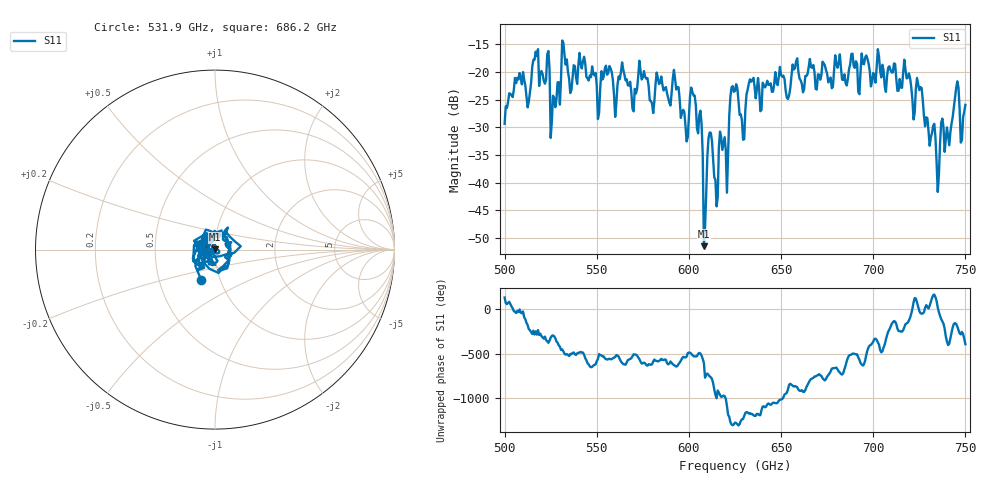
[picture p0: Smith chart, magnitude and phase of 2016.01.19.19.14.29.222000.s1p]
!Created with skrf (http://scikit-rf.org).
# GHz S RI R 50.0
!freq ReS11 ImS11
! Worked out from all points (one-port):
!   401 points, 500 GHz to 750 GHz, reference 50 ohm
!   lowest |S11| = -51.5 dB at 608.1 GHz (marker M1), VSWR 1.01, Z = 49.9 + j0.241 ohm
!   |S11| at or under -10 dB: start of sweep to end of sweep
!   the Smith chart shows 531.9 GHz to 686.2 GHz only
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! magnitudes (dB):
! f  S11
! 500 GHz  -29.4
! 506.9 GHz  -21.0
! 513.1 GHz  -25.3
! 516.9 GHz  -16.3
! 523.1 GHz  -16.8
! 526.2 GHz  -24.3
! 531.2 GHz  -14.3
! 550.6 GHz  -28.5
! 562.5 GHz  -21.3
! 593.8 GHz  -22.7
! 598.8 GHz  -32.6
! 602.5 GHz  -24.2
! 606.2 GHz  -27.0
! 608.1 GHz  -51.5
! 611.2 GHz  -30.9
! 614.4 GHz  -39.5
! 617.5 GHz  -31.8
! 620 GHz  -34.2
! 625 GHz  -23.4
! 628.8 GHz  -28.7
! 633.8 GHz  -21.7
! 656.2 GHz  -18.6
! 687.5 GHz  -18.6
! 718.8 GHz  -21.0
! 725 GHz  -23.3
! 735 GHz  -41.7
! 745 GHz  -22.9
! 750 GHz  -25.9
